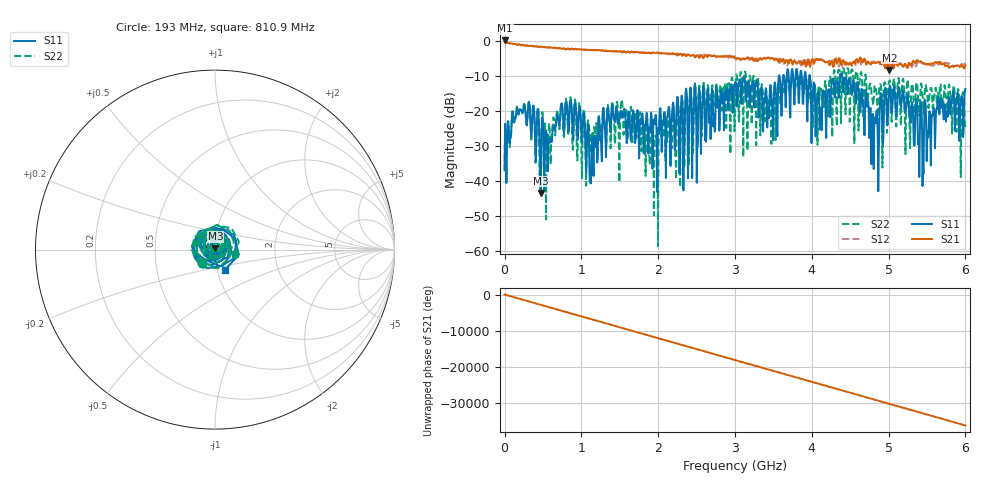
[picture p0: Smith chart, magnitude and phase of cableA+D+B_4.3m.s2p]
# GHZ S RI R 50.000000000000
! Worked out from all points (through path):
!   1001 points, 1 MHz to 6 GHz, reference 50 ohm
!   highest |S21| = 0.14 dB at 6.999 MHz (marker M1); lowest = -8.3 dB at 5.01 GHz (marker M2)
!   lowest |S11| = -43.5 dB at 468.9 MHz (marker M3), VSWR 1.01, Z = 50.2 + j0.64 ohm
!   |S11| at or under -10 dB: start of sweep to 3.12 GHz; 3.121 GHz to 3.572 GHz (451.1 MHz wide, 13.5 % of centre); 4.396 GHz to end of sweep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
!   |S22| runs from -58.6 to -7.6 dB; largest |S21 - S12| = 0.15
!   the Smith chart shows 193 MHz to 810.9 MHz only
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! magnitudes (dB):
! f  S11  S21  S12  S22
! 1 MHz  -36.5  -0.1  -0.1  -37.3
! 6.999 MHz  -23.8  0.1  -0.1  -23.2
! 187 MHz  -20.4  -1.0  -1.0  -20.4
! 468.9 MHz  -43.5  -1.7  -1.7  -31.5
! 570.9 MHz  -30.2  -1.9  -1.9  -27.3
! 720.9 MHz  -22.9  -2.1  -2.1  -23.3
! 1.003 GHz  -26.8  -2.4  -2.4  -35.3
! 1.135 GHz  -29.9  -2.6  -2.6  -26.7
! 1.429 GHz  -22.6  -3.0  -3.0  -24.4
! 2.005 GHz  -25.8  -3.4  -3.5  -29.7
! 3.001 GHz  -12.6  -4.7  -4.5  -19.4
! 3.504 GHz  -17.9  -5.3  -4.9  -15.1
! 3.672 GHz  -11.1  -5.6  -6.7  -10.4
! 4.002 GHz  -22.3  -5.3  -5.7  -16.0
! 4.398 GHz  -10.3  -5.6  -7.3  -8.0
! 4.836 GHz  -21.9  -6.3  -6.0  -14.0
! 5.004 GHz  -15.2  -8.0  -5.8  -11.9
! 5.01 GHz  -13.6  -8.3  -6.0  -11.4
! 5.16 GHz  -18.7  -6.6  -6.3  -24.2
! 5.43 GHz  -19.5  -6.0  -6.3  -12.6
! 5.652 GHz  -17.5  -6.2  -6.4  -15.8
! 6 GHz  -13.7  -6.9  -6.1  -24.0
